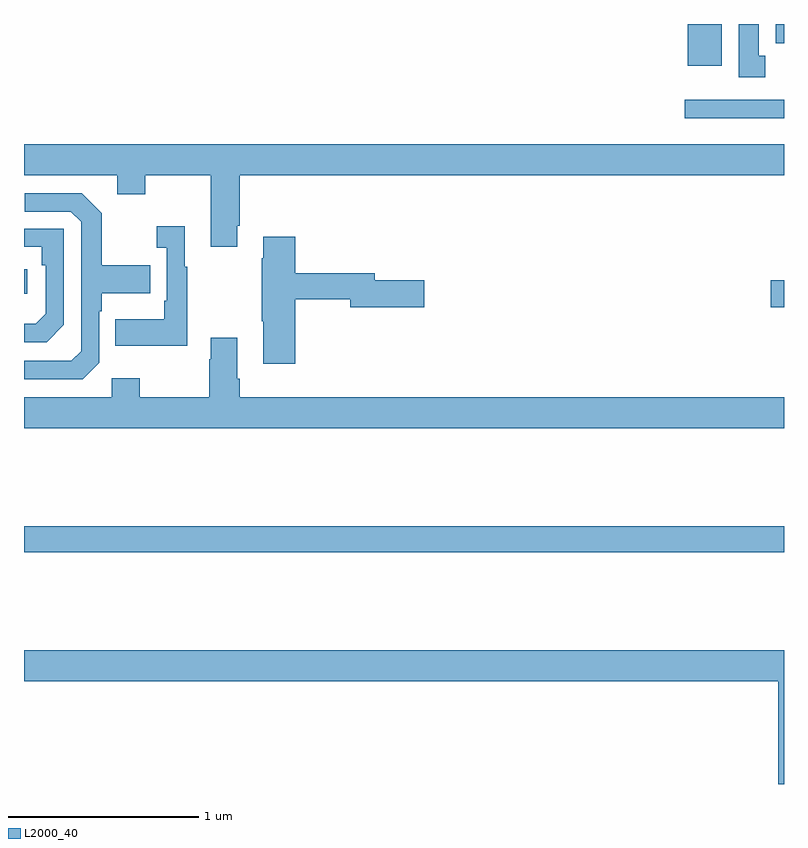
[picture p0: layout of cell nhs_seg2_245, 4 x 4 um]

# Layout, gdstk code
import gdstk
lib = gdstk.Library(unit=1e-6, precision=1e-09)
def R(c, l, rs):  # rectangles x0, y0, x1, y1
    for r in rs: c.add(gdstk.rectangle(r[:2], r[2:], *l))
def P(c, l, *ps):  # polygons
    for p in ps: c.add(gdstk.Polygon(p, *l))
L2000_40 = (2000, 40)

nhs_seg2_245 = lib.new_cell('nhs_seg2_245')
R(nhs_seg2_245, L2000_40, [(123,611.02,127,611.156), (126.93,612.31,127,612.452), (123,612.38,123.016,612.51), (126.477,613.304,127,613.401), (126.494,613.58,126.673,613.8), (126.956,613.7,127,613.8)])
P(nhs_seg2_245, L2000_40, [(126.901,613.634),(126.868,613.634),(126.868,613.8),(126.761,613.8),(126.761,613.521),(126.901,613.521)],
  [(124.123,612.739),(124.136,612.739),(124.136,613.004),(127,613.004),(127,613.168),(123,613.168),(123,613.004),(123.491,613.004),(123.491,612.905),(123.639,612.905),(123.639,613.004),(123.983,613.004),(123.983,612.627),(124.123,612.627)],
  [(123.396,612.018),(123.396,612.287),(123.409,612.287),(123.409,612.383),(123.665,612.383),(123.665,612.531),(123.409,612.531),(123.409,612.803),(123.303,612.909),(123.003,612.909),(123.003,612.813),(123.246,612.813),(123.3,612.759),(123.3,612.078),(123.249,612.027),(123,612.027),(123,611.931),(123.309,611.931)],
  [(123.859,612.523),(123.847,612.523),(123.847,612.736),(123.699,612.736),(123.699,612.623),(123.75,612.623),(123.75,612.343),(123.738,612.343),(123.738,612.247),(123.481,612.247),(123.481,612.107),(123.859,612.107)],
  [(123.21,612.216),(123.21,612.723),(123,612.723),(123,612.627),(123.094,612.627),(123.094,612.53),(123.114,612.53),(123.114,612.276),(123.061,612.223),(123,612.223),(123,612.126),(123.12,612.126)],
  [(124.427,612.352),(124.718,612.352),(124.718,612.31),(125.107,612.31),(125.107,612.452),(124.846,612.452),(124.846,612.488),(124.427,612.488),(124.427,612.679),(124.259,612.679),(124.259,612.566),(124.252,612.566),(124.252,612.235),(124.259,612.235),(124.259,612.012),(124.427,612.012)],
  [(127,611.836),(124.136,611.836),(124.136,611.932),(124.123,611.932),(124.123,612.148),(123.983,612.148),(123.983,612.035),(123.976,612.035),(123.976,611.836),(123.609,611.836),(123.609,611.935),(123.462,611.935),(123.462,611.836),(123,611.836),(123,611.672),(127,611.672)],
  [(127,610.504),(123,610.504),(123,610.34),(126.971,610.34),(126.971,609.8),(127,609.8)])

lib.write_gds('nhs_seg2_245.gds')
